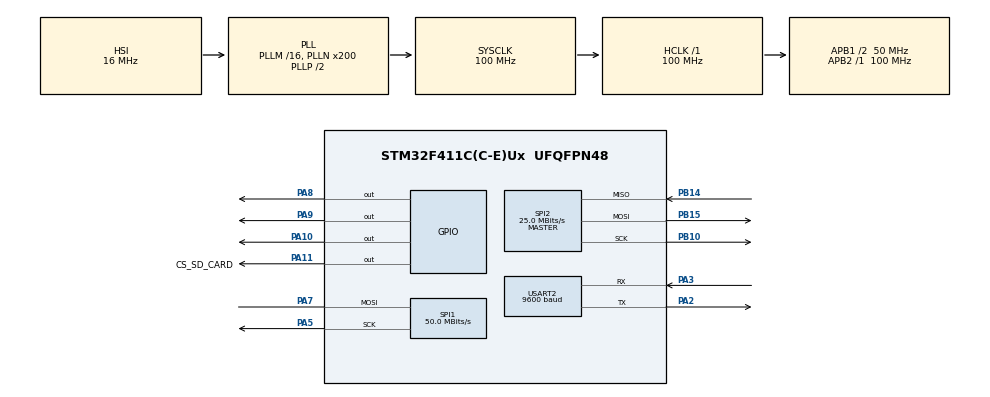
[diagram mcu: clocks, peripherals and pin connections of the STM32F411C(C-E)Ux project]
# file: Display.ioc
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Dma.Request0=USART2_RX
Dma.Request1=USART2_TX
Dma.Request2=SPI1_TX
Dma.SPI1_TX.2.Direction=DMA_MEMORY_TO_PERIPH
Dma.SPI1_TX.2.FIFOMode=DMA_FIFOMODE_DISABLE
Dma.SPI1_TX.2.Instance=DMA2_Stream2
Dma.SPI1_TX.2.MemDataAlignment=DMA_MDATAALIGN_BYTE
Dma.SPI1_TX.2.MemInc=DMA_MINC_ENABLE
Dma.SPI1_TX.2.Mode=DMA_NORMAL
Dma.SPI1_TX.2.PeriphDataAlignment=DMA_PDATAALIGN_BYTE
Dma.SPI1_TX.2.PeriphInc=DMA_PINC_DISABLE
Dma.SPI1_TX.2.Priority=DMA_PRIORITY_LOW
Dma.USART2_RX.0.Direction=DMA_PERIPH_TO_MEMORY
Dma.USART2_RX.0.FIFOMode=DMA_FIFOMODE_DISABLE
Dma.USART2_RX.0.Instance=DMA1_Stream5
Dma.USART2_RX.0.MemDataAlignment=DMA_MDATAALIGN_BYTE
Dma.USART2_RX.0.MemInc=DMA_MINC_ENABLE
Dma.USART2_RX.0.Mode=DMA_CIRCULAR
Dma.USART2_RX.0.PeriphDataAlignment=DMA_PDATAALIGN_BYTE
Dma.USART2_RX.0.PeriphInc=DMA_PINC_DISABLE
Dma.USART2_RX.0.Priority=DMA_PRIORITY_LOW
Dma.USART2_TX.1.Direction=DMA_MEMORY_TO_PERIPH
Dma.USART2_TX.1.FIFOMode=DMA_FIFOMODE_DISABLE
Dma.USART2_TX.1.Instance=DMA1_Stream6
Dma.USART2_TX.1.MemDataAlignment=DMA_MDATAALIGN_BYTE
Dma.USART2_TX.1.MemInc=DMA_MINC_ENABLE
Dma.USART2_TX.1.Mode=DMA_NORMAL
Dma.USART2_TX.1.PeriphDataAlignment=DMA_PDATAALIGN_BYTE
Dma.USART2_TX.1.PeriphInc=DMA_PINC_DISABLE
Dma.USART2_TX.1.Priority=DMA_PRIORITY_LOW
FATFS._MAX_SS=4096
FATFS._USE_LFN=1
Mcu.Family=STM32F4
Mcu.Name=STM32F411C(C-E)Ux
Mcu.Package=UFQFPN48
NVIC.DMA1_Stream5_IRQn=true\:0\:0\:false\:false\:true\:false\:true\:true
NVIC.DMA1_Stream6_IRQn=true\:0\:0\:false\:false\:true\:false\:true\:true
NVIC.DMA2_Stream2_IRQn=true\:0\:0\:false\:false\:true\:false\:true\:true
NVIC.PriorityGroup=NVIC_PRIORITYGROUP_4
NVIC.SPI1_IRQn=true\:0\:0\:false\:false\:true\:true\:true\:true
NVIC.SPI2_IRQn=true\:0\:0\:false\:false\:true\:true\:true\:true
NVIC.USART2_IRQn=true\:0\:0\:false\:false\:true\:true\:true\:true
PA10.Signal=GPIO_Output
PA11.GPIO_Label=CS_SD_CARD
PA11.Signal=GPIO_Output
PA13.Mode=Serial_Wire
PA13.Signal=SYS_JTMS-SWDIO
PA14.Mode=Serial_Wire
PA14.Signal=SYS_JTCK-SWCLK
PA2.Mode=Asynchronous
PA2.Signal=USART2_TX
PA3.Mode=Asynchronous
PA3.Signal=USART2_RX
PA5.Mode=Simplex_Bidirectional_Master
PA5.Signal=SPI1_SCK
PA7.Mode=Simplex_Bidirectional_Master
PA7.Signal=SPI1_MOSI
PA8.GPIO_Speed=GPIO_SPEED_FREQ_HIGH
PA8.Signal=GPIO_Output
PA9.Signal=GPIO_Output
PB10.Mode=Full_Duplex_Master
PB10.Signal=SPI2_SCK
PB14.Mode=Full_Duplex_Master
PB14.Signal=SPI2_MISO
PB15.Mode=Full_Duplex_Master
PB15.Signal=SPI2_MOSI
PH0\ -\ OSC_IN.Mode=HSE-External-Oscillator
PH0\ -\ OSC_IN.Signal=RCC_OSC_IN
PH1\ -\ OSC_OUT.Mode=HSE-External-Oscillator
PH1\ -\ OSC_OUT.Signal=RCC_OSC_OUT
ProjectManager.HeapSize=0x200
ProjectManager.StackSize=0x400
ProjectManager.TargetToolchain=STM32CubeIDE
RCC.48MHZClocksFreq_Value=50000000
RCC.AHBFreq_Value=100000000
RCC.APB1CLKDivider=RCC_HCLK_DIV2
RCC.APB1Freq_Value=50000000
RCC.APB1TimFreq_Value=100000000
RCC.APB2Freq_Value=100000000
RCC.APB2TimFreq_Value=100000000
RCC.CortexFreq_Value=100000000
RCC.HCLKFreq_Value=100000000
RCC.HSE_VALUE=25000000
RCC.HSI_VALUE=16000000
RCC.LSE_VALUE=32768
RCC.PLLN=200
RCC.SYSCLKFreq_VALUE=100000000
RCC.SYSCLKSource=RCC_SYSCLKSOURCE_PLLCLK
RCC.VCOOutputFreq_Value=200000000
SPI1.BaudRatePrescaler=SPI_BAUDRATEPRESCALER_2
SPI1.CRCCalculation=SPI_CRCCALCULATION_DISABLE
SPI1.CalculateBaudRate=50.0 MBits/s
SPI1.Direction=SPI_DIRECTION_1LINE
SPI1.Mode=SPI_MODE_MASTER
SPI1.VirtualType=VM_MASTER
SPI2.CalculateBaudRate=25.0 MBits/s
SPI2.Direction=SPI_DIRECTION_2LINES
SPI2.Mode=SPI_MODE_MASTER
SPI2.VirtualType=VM_MASTER
USART2.BaudRate=9600
USART2.VirtualMode=VM_ASYNC
VP_FATFS_VS_Generic.Mode=User_defined
board=custom

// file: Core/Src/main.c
/* USER CODE BEGIN Header */
/**
  ******************************************************************************
  * @file           : main.c
  * @brief          : Main program body
  ******************************************************************************
  * @attention
  *
  * Copyright (c) 2025 STMicroelectronics.
  * All rights reserved.
  *
  * This software is licensed under terms that can be found in the LICENSE file
  * in the root directory of this software component.
  * If no LICENSE file comes with this software, it is provided AS-IS.
  *
  ******************************************************************************
  */
/* USER CODE END Header */
#include "main.h"
#include "fatfs.h"

/* USER CODE BEGIN Includes */
#include <string.h>
#include "st7735.h"
#include "fonts.h"
#include "testimg.h"
#include <string.h>
#include "GNSS.h"
#include "LCDController.h"
#include "lvgl.h"
/* USER CODE END Includes */

SPI_HandleTypeDef hspi1;
SPI_HandleTypeDef hspi2;
DMA_HandleTypeDef hdma_spi1_tx;

UART_HandleTypeDef huart2;
DMA_HandleTypeDef hdma_usart2_rx;
DMA_HandleTypeDef hdma_usart2_tx;

/* USER CODE BEGIN PV */
uint8_t uartBuffer[256] = {'\0'};
/* USER CODE END PV */

void SystemClock_Config(void);
static void MX_GPIO_Init(void);
static void MX_DMA_Init(void);
static void MX_SPI1_Init(void);
static void MX_USART2_UART_Init(void);
static void MX_SPI2_Init(void);

/* USER CODE BEGIN 0 */
void init() {
    ST7735_Init();
}

void initFatFS(){
	  char buffer[512];
	  static FATFS g_sFatFs;
	  FRESULT fresult;
	  FIL file;
	  int len;
	  UINT bytes_written;
	  fresult = f_mount(&g_sFatFs, "0:", 0);        //mount SD card
	  fresult = f_open(&file, "testfile.txt", FA_OPEN_ALWAYS | FA_WRITE); //open file on SD card
	  //fresult = f_lseek(&file, file.fsize);         //go to the end of the file
	  len = sprintf(buffer, "Hello, World!\r\nThis is demonstration write on SD Card\r\n");    //generate some string
	  fresult = f_write(&file, buffer, len, &bytes_written);     //write data to the file
	  fresult = f_close(&file);
}

void loop() {
    // Check border
    //ST7735_FillScreen(ST7735_BLACK);

//    for(int x = 0; x < ST7735_WIDTH; x++) {
//        ST7735_DrawPixel(x, 0, ST7735_RED);
//        ST7735_DrawPixel(x, ST7735_HEIGHT-1, ST7735_RED);
//    }
//
//    for(int y = 0; y < ST7735_HEIGHT; y++) {
//        ST7735_DrawPixel(0, y, ST7735_RED);
//        ST7735_DrawPixel(ST7735_WIDTH-1, y, ST7735_RED);
//    }
//
//    HAL_Delay(3000);

    // Check fonts
//    ST7735_FillScreen(ST7735_BLACK);
//    char stringData[256] = {'\0'};
//
//    strncpy(stringData, uartBuffer, 255);
//
//    ST7735_WriteString(0, 0, stringData, Font_7x10, ST7735_WHITE, ST7735_BLACK);
////    ST7735_WriteString(0, 0, "Font_7x10, red on black, lorem ipsum dolor sit amet", Font_7x10, ST7735_RED, ST7735_BLACK);
////    ST7735_WriteString(0, 3*10, "Font_11x18, green, lorem ipsum", Font_11x18, ST7735_GREEN, ST7735_BLACK);
////    ST7735_WriteString(0, 3*10+3*18, "Font_16x26", Font_16x26, ST7735_BLUE, ST7735_BLACK);
//    HAL_Delay(1000);

    // Check colors
//    ST7735_FillScreen(ST7735_BLACK);
//    ST7735_WriteString(0, 0, "BLACK", Font_11x18, ST7735_WHITE, ST7735_BLACK);
//    HAL_Delay(500);
//
//    ST7735_FillScreen(ST7735_BLUE);
//    ST7735_WriteString(0, 0, "BLUE", Font_11x18, ST7735_BLACK, ST7735_BLUE);
//    HAL_Delay(500);
//
//    ST7735_FillScreen(ST7735_RED);
//    ST7735_WriteString(0, 0, "RED", Font_11x18, ST7735_BLACK, ST7735_RED);
//    HAL_Delay(500);
//
//    ST7735_FillScreen(ST7735_GREEN);
//    ST7735_WriteString(0, 0, "GREEN", Font_11x18, ST7735_BLACK, ST7735_GREEN);
//    HAL_Delay(500);
//
//    ST7735_FillScreen(ST7735_CYAN);
//    ST7735_WriteString(0, 0, "CYAN", Font_11x18, ST7735_BLACK, ST7735_CYAN);
//    HAL_Delay(500);
//
//    ST7735_FillScreen(ST7735_MAGENTA);
//    ST7735_WriteString(0, 0, "MAGENTA", Font_11x18, ST7735_BLACK, ST7735_MAGENTA);
//    HAL_Delay(500);
//
//    ST7735_FillScreen(ST7735_YELLOW);
//    ST7735_WriteString(0, 0, "YELLOW", Font_11x18, ST7735_BLACK, ST7735_YELLOW);
//    HAL_Delay(500);
//
//    ST7735_FillScreen(ST7735_WHITE);
//    ST7735_WriteString(0, 0, "WHITE", Font_11x18, ST7735_BLACK, ST7735_WHITE);
//    HAL_Delay(500);
//
//
//    // Display test image 128x128
//    ST7735_DrawImage(0, 0, ST7735_WIDTH, ST7735_HEIGHT, (uint16_t*)test_img_128x128);

/*
    // Display test image 128x128 pixel by pixel
    for(int x = 0; x < ST7735_WIDTH; x++) {
        for(int y = 0; y < ST7735_HEIGHT; y++) {
            uint16_t color565 = test_img_128x128[y][x];
            // fix endiness
            color565 = ((color565 & 0xFF00) >> 8) | ((color565 & 0xFF) << 8);
            ST7735_DrawPixel(x, y, color565);
        }
    }
*/
//    HAL_Delay(15000);

}

///* Initialize low level display driver */
//void lv_port_disp_init(void);
//
///* Enable updating the screen (the flushing process) when disp_flush() is called by LVGL
// */
//void disp_enable_update(void);
//
///* Disable updating the screen (the flushing process) when disp_flush() is called by LVGL
// */
//void disp_disable_update(void);

/* USER CODE END 0 */

int main(void)
{

  /* MCU Configuration--------------------------------------------------------*/

  /* Reset of all peripherals, Initializes the Flash interface and the Systick. */
  HAL_Init();

  /* Configure the system clock */
  SystemClock_Config();

  /* Initialize all configured peripherals */
  MX_GPIO_Init();
  MX_DMA_Init();
  MX_SPI1_Init();
  MX_USART2_UART_Init();
  MX_FATFS_Init();
  MX_SPI2_Init();
  /* USER CODE BEGIN 2 */
  //HAL_DMA_RegisterCallback(hdma_spi1_tx, HAL_DMA_XFER_CPLT_CB_ID, pCallback);
  /* USER CODE END 2 */

  /* Infinite loop */
  /* USER CODE BEGIN WHILE */
  ST7735_Init();
  ST7735_FillScreen(ST7735_BLACK);
  initFatFS();
  /* Initialize LVGL */
  lv_init();
  lv_port_disp_init();
  lv_demo_benchmark();

//	ST7735_FillScreen(ST7735_BLACK);
//	GNSS_Init(&GNSS_Handle, &huart2);
//	HAL_Delay(1000);
//	GNSS_LoadConfig(&GNSS_Handle);
//	GNSS_SetMode(&GNSS_Handle, Automotiv);
//	uint32_t Timer = HAL_GetTick();
//	ST7735_FillScreen(ST7735_BLACK);

  //HAL_UART_Receive_DMA(&huart2, uartBuffer, 256U);
  char stringData[256] = {'\0'};
  while (1)
  {
    //loop();
	  lv_task_handler();
	  HAL_Delay(5);

//	  if ((HAL_GetTick() - Timer) > 1000) {
//	  			GNSS_GetUniqID(&GNSS_Handle);
//	  			GNSS_ParseBuffer(&GNSS_Handle);
//	  			HAL_Delay(250);
//	  			GNSS_GetPVTData(&GNSS_Handle);
//	  			GNSS_ParseBuffer(&GNSS_Handle);
//
//
//
//	  			sprintf(stringData, "Day: %d-%d-%d", GNSS_Handle.day, GNSS_Handle.month,GNSS_Handle.year);
//	  			ST7735_WriteString(0, 0, stringData, Font_7x10, ST7735_WHITE, ST7735_BLACK);
//	  			sprintf(stringData, "Time: %d:%d:%d", GNSS_Handle.hour, GNSS_Handle.min,GNSS_Handle.sec);
//	  			ST7735_WriteString(0, 10, stringData, Font_7x10, ST7735_WHITE, ST7735_BLACK);
//	  			sprintf(stringData, "Status of fix: %d", GNSS_Handle.fixType);
//	  			ST7735_WriteString(0, 20, stringData, Font_7x10, ST7735_WHITE, ST7735_BLACK);
//	  			sprintf(stringData, "Lat: %f", GNSS_Handle.fLat);
//	  			ST7735_WriteString(0, 30, stringData, Font_7x10, ST7735_WHITE, ST7735_BLACK);
//	  			sprintf(stringData, "Lon: %f", GNSS_Handle.fLon);
//	  			ST7735_WriteString(0, 40, stringData, Font_7x10, ST7735_WHITE, ST7735_BLACK);
//	  			//memset(stringData, 0, 256);
//	  			sprintf(stringData, "Height above ellipsoid: %d", GNSS_Handle.height);
//	  			ST7735_WriteString(0, 50, stringData, Font_7x10, ST7735_WHITE, ST7735_BLACK);
//	  			sprintf(stringData, "Height above mean sea level: %d", GNSS_Handle.hMSL);
//	  			ST7735_WriteString(0, 70, stringData, Font_7x10, ST7735_WHITE, ST7735_BLACK);
//	  			sprintf(stringData, "Ground Speed (2-D): %d", GNSS_Handle.gSpeed);
//	  			ST7735_WriteString(0, 90, stringData, Font_7x10, ST7735_WHITE, ST7735_BLACK);
//	  			sprintf(stringData, "Unique ID: %04X %04X %04X %04X %04X \n\r",
//	  					GNSS_Handle.uniqueID[0], GNSS_Handle.uniqueID[1],
//	  					GNSS_Handle.uniqueID[2], GNSS_Handle.uniqueID[3],
//	  					GNSS_Handle.uniqueID[4], GNSS_Handle.uniqueID[5]);
//	  			ST7735_WriteString(0, 110, stringData, Font_7x10, ST7735_WHITE, ST7735_BLACK);
//	  			Timer = HAL_GetTick();
//	  		    //ST7735_FillScreen(ST7735_BLACK);
//	  }
    /* USER CODE END WHILE */

  }
}

void SystemClock_Config(void)
{
  RCC_OscInitTypeDef RCC_OscInitStruct = {0};
  RCC_ClkInitTypeDef RCC_ClkInitStruct = {0};

  /** Configure the main internal regulator output voltage
  */
  __HAL_RCC_PWR_CLK_ENABLE();
  __HAL_PWR_VOLTAGESCALING_CONFIG(PWR_REGULATOR_VOLTAGE_SCALE1);

  /** Initializes the RCC Oscillators according to the specified parameters
  * in the RCC_OscInitTypeDef structure.
  */
  RCC_OscInitStruct.OscillatorType = RCC_OSCILLATORTYPE_HSI;
  RCC_OscInitStruct.HSIState = RCC_HSI_ON;
  RCC_OscInitStruct.HSICalibrationValue = RCC_HSICALIBRATION_DEFAULT;
  RCC_OscInitStruct.PLL.PLLState = RCC_PLL_ON;
  RCC_OscInitStruct.PLL.PLLSource = RCC_PLLSOURCE_HSI;
  RCC_OscInitStruct.PLL.PLLM = 16;
  RCC_OscInitStruct.PLL.PLLN = 200;
  RCC_OscInitStruct.PLL.PLLP = RCC_PLLP_DIV2;
  RCC_OscInitStruct.PLL.PLLQ = 4;
  if (HAL_RCC_OscConfig(&RCC_OscInitStruct) != HAL_OK)
  {
    Error_Handler();
  }

  /** Initializes the CPU, AHB and APB buses clocks
  */
  RCC_ClkInitStruct.ClockType = RCC_CLOCKTYPE_HCLK|RCC_CLOCKTYPE_SYSCLK
                              |RCC_CLOCKTYPE_PCLK1|RCC_CLOCKTYPE_PCLK2;
  RCC_ClkInitStruct.SYSCLKSource = RCC_SYSCLKSOURCE_PLLCLK;
  RCC_ClkInitStruct.AHBCLKDivider = RCC_SYSCLK_DIV1;
  RCC_ClkInitStruct.APB1CLKDivider = RCC_HCLK_DIV2;
  RCC_ClkInitStruct.APB2CLKDivider = RCC_HCLK_DIV1;

  if (HAL_RCC_ClockConfig(&RCC_ClkInitStruct, FLASH_LATENCY_3) != HAL_OK)
  {
    Error_Handler();
  }
}

static void MX_SPI1_Init(void)
{

  /* SPI1 parameter configuration*/
  hspi1.Instance = SPI1;
  hspi1.Init.Mode = SPI_MODE_MASTER;
  hspi1.Init.Direction = SPI_DIRECTION_1LINE;
  hspi1.Init.DataSize = SPI_DATASIZE_8BIT;
  hspi1.Init.CLKPolarity = SPI_POLARITY_LOW;
  hspi1.Init.CLKPhase = SPI_PHASE_1EDGE;
  hspi1.Init.NSS = SPI_NSS_SOFT;
  hspi1.Init.BaudRatePrescaler = SPI_BAUDRATEPRESCALER_2;
  hspi1.Init.FirstBit = SPI_FIRSTBIT_MSB;
  hspi1.Init.TIMode = SPI_TIMODE_DISABLE;
  hspi1.Init.CRCCalculation = SPI_CRCCALCULATION_DISABLE;
  hspi1.Init.CRCPolynomial = 10;
  if (HAL_SPI_Init(&hspi1) != HAL_OK)
  {
    Error_Handler();
  }

}

static void MX_SPI2_Init(void)
{

  /* SPI2 parameter configuration*/
  hspi2.Instance = SPI2;
  hspi2.Init.Mode = SPI_MODE_MASTER;
  hspi2.Init.Direction = SPI_DIRECTION_2LINES;
  hspi2.Init.DataSize = SPI_DATASIZE_8BIT;
  hspi2.Init.CLKPolarity = SPI_POLARITY_LOW;
  hspi2.Init.CLKPhase = SPI_PHASE_1EDGE;
  hspi2.Init.NSS = SPI_NSS_SOFT;
  hspi2.Init.BaudRatePrescaler = SPI_BAUDRATEPRESCALER_2;
  hspi2.Init.FirstBit = SPI_FIRSTBIT_MSB;
  hspi2.Init.TIMode = SPI_TIMODE_DISABLE;
  hspi2.Init.CRCCalculation = SPI_CRCCALCULATION_DISABLE;
  hspi2.Init.CRCPolynomial = 10;
  if (HAL_SPI_Init(&hspi2) != HAL_OK)
  {
    Error_Handler();
  }

}

static void MX_USART2_UART_Init(void)
{

  huart2.Instance = USART2;
  huart2.Init.BaudRate = 9600;
  huart2.Init.WordLength = UART_WORDLENGTH_8B;
  huart2.Init.StopBits = UART_STOPBITS_1;
  huart2.Init.Parity = UART_PARITY_NONE;
  huart2.Init.Mode = UART_MODE_TX_RX;
  huart2.Init.HwFlowCtl = UART_HWCONTROL_NONE;
  huart2.Init.OverSampling = UART_OVERSAMPLING_16;
  if (HAL_UART_Init(&huart2) != HAL_OK)
  {
    Error_Handler();
  }

}

static void MX_DMA_Init(void)
{

  /* DMA controller clock enable */
  __HAL_RCC_DMA1_CLK_ENABLE();
  __HAL_RCC_DMA2_CLK_ENABLE();

  /* DMA interrupt init */
  /* DMA1_Stream5_IRQn interrupt configuration */
  HAL_NVIC_SetPriority(DMA1_Stream5_IRQn, 0, 0);
  HAL_NVIC_EnableIRQ(DMA1_Stream5_IRQn);
  /* DMA1_Stream6_IRQn interrupt configuration */
  HAL_NVIC_SetPriority(DMA1_Stream6_IRQn, 0, 0);
  HAL_NVIC_EnableIRQ(DMA1_Stream6_IRQn);
  /* DMA2_Stream2_IRQn interrupt configuration */
  HAL_NVIC_SetPriority(DMA2_Stream2_IRQn, 0, 0);
  HAL_NVIC_EnableIRQ(DMA2_Stream2_IRQn);

}

static void MX_GPIO_Init(void)
{
  GPIO_InitTypeDef GPIO_InitStruct = {0};

  /* GPIO Ports Clock Enable */
  __HAL_RCC_GPIOH_CLK_ENABLE();
  __HAL_RCC_GPIOA_CLK_ENABLE();
  __HAL_RCC_GPIOB_CLK_ENABLE();

  /*Configure GPIO pin Output Level */
  HAL_GPIO_WritePin(GPIOA, GPIO_PIN_8|GPIO_PIN_9|GPIO_PIN_10|CS_SD_CARD_Pin, GPIO_PIN_RESET);

  /*Configure GPIO pin : PA8 */
  GPIO_InitStruct.Pin = GPIO_PIN_8;
  GPIO_InitStruct.Mode = GPIO_MODE_OUTPUT_PP;
  GPIO_InitStruct.Pull = GPIO_NOPULL;
  GPIO_InitStruct.Speed = GPIO_SPEED_FREQ_HIGH;
  HAL_GPIO_Init(GPIOA, &GPIO_InitStruct);

  /*Configure GPIO pins : PA9 PA10 CS_SD_CARD_Pin */
  GPIO_InitStruct.Pin = GPIO_PIN_9|GPIO_PIN_10|CS_SD_CARD_Pin;
  GPIO_InitStruct.Mode = GPIO_MODE_OUTPUT_PP;
  GPIO_InitStruct.Pull = GPIO_NOPULL;
  GPIO_InitStruct.Speed = GPIO_SPEED_FREQ_LOW;
  HAL_GPIO_Init(GPIOA, &GPIO_InitStruct);

}

void Error_Handler(void)
{
  __disable_irq();
  while (1)
  {
  }
}
